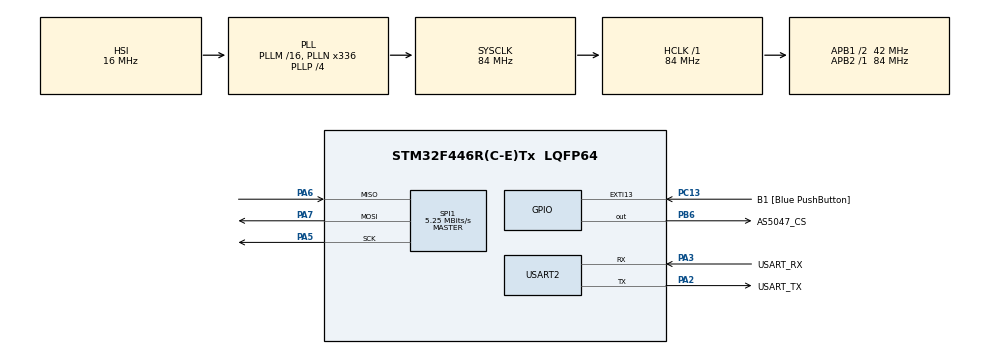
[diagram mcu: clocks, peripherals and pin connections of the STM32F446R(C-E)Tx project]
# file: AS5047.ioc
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Mcu.Family=STM32F4
PC15-OSC32_OUT.Mode=LSE-External-Oscillator
PA6.Mode=Full_Duplex_Master
PH0-OSC_IN.Signal=RCC_OSC_IN
RCC.CortexFreq_Value=84000000
PA7.Mode=Full_Duplex_Master
SPI1.VirtualType=VM_MASTER
PC13.Signal=GPXTI13
PA14.GPIO_Label=TCK
PB6.GPIO_Label=AS5047_CS
PC13.GPIO_Label=B1 [Blue PushButton]
RCC.APB1CLKDivider=RCC_HCLK_DIV2
PC14-OSC32_IN.Signal=RCC_OSC32_IN
RCC.SYSCLKSource=RCC_SYSCLKSOURCE_PLLCLK
ProjectManager.StackSize=0x400
PA13.Signal=SYS_JTMS-SWDIO
PA3.Mode=Asynchronous
ProjectManager.TargetToolchain=STM32CubeIDE
SPI1.Direction=SPI_DIRECTION_2LINES
RCC.HCLKFreq_Value=84000000
RCC.APB2TimFreq_Value=84000000
PB6.Signal=GPIO_Output
SPI1.CalculateBaudRate=5.25 MBits/s
RCC.USBFreq_Value=168000000
PC15-OSC32_OUT.Signal=RCC_OSC32_OUT
RCC.AHBFreq_Value=84000000
PH0-OSC_IN.Mode=HSE-External-Oscillator
PA5.Signal=SPI1_SCK
RCC.HSE_VALUE=8000000
board=NUCLEO-F446RE
RCC.VCOOutputFreq_Value=336000000
RCC.APB2Freq_Value=84000000
PC14-OSC32_IN.Mode=LSE-External-Oscillator
SPI1.Mode=SPI_MODE_MASTER
PA14.Mode=Serial_Wire
PH1-OSC_OUT.Signal=RCC_OSC_OUT
PA13.Mode=Serial_Wire
Mcu.Name=STM32F446R(C-E)Tx
PA2.Signal=USART2_TX
PA13.GPIO_Label=TMS
RCC.FLatency-AdvancedSettings=FLASH_LATENCY_2
PH1-OSC_OUT.Mode=HSE-External-Oscillator
RCC.48MHZClocksFreq_Value=84000000
PB3.Signal=SYS_JTDO-SWO
RCC.SYSCLKFreq_VALUE=84000000
Mcu.Package=LQFP64
PA6.Signal=SPI1_MISO
PC13.GPIO_ModeDefaultEXTI=GPIO_MODE_IT_FALLING
USART2.VirtualMode=VM_ASYNC
PA2.GPIO_Label=USART_TX
PA14.Signal=SYS_JTCK-SWCLK
ProjectManager.HeapSize=0x200
RCC.HSI_VALUE=16000000
RCC.PLLP=RCC_PLLP_DIV4
NVIC.PriorityGroup=NVIC_PRIORITYGROUP_0
RCC.PLLN=336
RCC.APB1TimFreq_Value=84000000
PA2.Mode=Asynchronous
RCC.APB1Freq_Value=42000000
SPI1.BaudRatePrescaler=SPI_BAUDRATEPRESCALER_16
PA3.GPIO_Label=USART_RX
PA3.Signal=USART2_RX
PA5.Mode=Full_Duplex_Master
PA7.Signal=SPI1_MOSI
PB3.GPIO_Label=SWO

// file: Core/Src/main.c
/* USER CODE BEGIN Header */
/**
  ******************************************************************************
  * @file           : main.c
  * @brief          : Main program body
  ******************************************************************************
  * @attention
  *
  * <h2><center>&copy; Copyright (c) 2021 STMicroelectronics.
  * All rights reserved.</center></h2>
  *
  * This software component is licensed by ST under BSD 3-Clause license,
  * the "License"; You may not use this file except in compliance with the
  * License. You may obtain a copy of the License at:
  *                        opensource.org/licenses/BSD-3-Clause
  *
  ******************************************************************************
  */
/* USER CODE END Header */
#include "main.h"

/* USER CODE BEGIN Includes */
#include "stdio.h"
/* USER CODE END Includes */

/* USER CODE BEGIN PD */
//The AS5047 requires at least 350ns between the LOW CS and the begin of the communication
#define AS5047_CS_LOW	{HAL_GPIO_WritePin(GPIOB, AS5047_CS_Pin, GPIO_PIN_RESET);  HAL_Delay(1);}
#define AS5047_CS_HIGH	HAL_GPIO_WritePin(GPIOB, AS5047_CS_Pin, GPIO_PIN_SET);

#define OP_READ   	      0x4000
#define PARITY_EVEN       0x0000
#define PARITY_ODD        0x8000
#define ADDR_NOP  	      0x0000
#define ADDR_ERRFL 	      0x0001
#define ADDR_ANGLECOM     0x3FFF

/* USER CODE END PD */

SPI_HandleTypeDef hspi1;

UART_HandleTypeDef huart2;

void SystemClock_Config(void);
static void MX_GPIO_Init(void);
static void MX_USART2_UART_Init(void);
static void MX_SPI1_Init(void);

int main(void)
{
  /* USER CODE BEGIN 1 */
  uint16_t spi_buf_send; 		//store the message the to be sent though SPI
  uint16_t spi_buf_receive;   //store the message the to be received though SPI
  char uart_buf[50];		//store the message the to be sent though UART
  uint16_t uart_buf_len;

  uint16_t CMD_R_ANGLECOM = (PARITY_ODD  | OP_READ | ADDR_ANGLECOM);
  uint16_t CMD_R_NOP      = (PARITY_ODD  | OP_READ | ADDR_NOP);
  uint16_t CMD_R_ERRFL    = (PARITY_EVEN | OP_READ | ADDR_ERRFL);

  HAL_StatusTypeDef status;

  float angle;

  /* USER CODE END 1 */

  /* MCU Configuration--------------------------------------------------------*/

  /* Reset of all peripherals, Initializes the Flash interface and the Systick. */
  HAL_Init();

  /* Configure the system clock */
  SystemClock_Config();

  /* Initialize all configured peripherals */
  MX_GPIO_Init();
  MX_USART2_UART_Init();
  MX_SPI1_Init();
  /* USER CODE BEGIN 2 */

  AS5047_CS_HIGH;

  //This section was translated from the original Arduino code. However, this section doesn't work because
  //0x0001 the the error register and it is only read

//  spi_buf_send = 0x0001; //writing command on the error register
//  AS5047_CS_LOW;
//  HAL_SPI_TransmitReceive(&hspi1, (uint8_t*)&spi_buf_send, (uint8_t*)&spi_buf_receive, 2, 100);
//  AS5047_CS_HIGH;
//  uart_buf_len = sprintf(uart_buf, "%d\r\n", spi_buf_receive); //print data
//  HAL_UART_Transmit(&huart2, (uint8_t*)uart_buf, uart_buf_len, 100);
//
//  spi_buf_send = 0x0007; //this is the value written on the error register
//  AS5047_CS_LOW;
//  HAL_SPI_TransmitReceive(&hspi1, (uint8_t*)&spi_buf_send, (uint8_t*)&spi_buf_receive, 2, 100);
//  AS5047_CS_HIGH;
//  uart_buf_len = sprintf(uart_buf, "%d\r\n", spi_buf_receive); //print data
//  HAL_UART_Transmit(&huart2, (uint8_t*)uart_buf, uart_buf_len, 100);

  spi_buf_send = CMD_R_ERRFL;
  spi_buf_receive=0;
  AS5047_CS_LOW;
  HAL_SPI_TransmitReceive(&hspi1, (uint8_t*)&spi_buf_send, (uint8_t*)&spi_buf_receive, 1, 100);
  AS5047_CS_HIGH;
  //The received message is trash
//  uart_buf_len = sprintf(uart_buf, "%d\r\n", spi_buf_receive); //print data
//  HAL_UART_Transmit(&huart2, (uint8_t*)uart_buf, uart_buf_len, 100);

  spi_buf_send = CMD_R_NOP;
  spi_buf_receive=0;
  AS5047_CS_LOW;
  HAL_SPI_TransmitReceive(&hspi1, (uint8_t*)&spi_buf_send, (uint8_t*)&spi_buf_receive, 1, 100);
  AS5047_CS_HIGH;
  uart_buf_len = sprintf(uart_buf, "%d\r\n", spi_buf_receive); //print data
  HAL_UART_Transmit(&huart2, (uint8_t*)uart_buf, uart_buf_len, 100);

  if(spi_buf_receive != 0){
	  uart_buf_len = sprintf(uart_buf, "Error %d Detected\r\n", spi_buf_receive); //print data
	  HAL_UART_Transmit(&huart2, (uint8_t*)uart_buf, uart_buf_len, 100);
  }

  /* USER CODE END 2 */

  /* Infinite loop */
  while (1)
  {

    /* USER CODE BEGIN 3 */

	  //send the address of the angle register
	  AS5047_CS_LOW;
	  HAL_SPI_Transmit(&hspi1, (uint8_t*)&CMD_R_ANGLECOM, 1, 100);
	  AS5047_CS_HIGH;

	  //send NOP and read the angle
	  AS5047_CS_LOW;
	  spi_buf_receive=0;
	  status = HAL_SPI_TransmitReceive(&hspi1, (uint8_t*)&CMD_R_NOP, (uint8_t*)&spi_buf_receive, 1, 100);
	  AS5047_CS_HIGH

	  if(((spi_buf_receive &0x4000)==0) && (status==HAL_OK)){
		  //removing the status bits
		  spi_buf_receive &= 0x3FFF;

		  uart_buf_len = sprintf(uart_buf, "Raw value = %d\r\n", spi_buf_receive); //print raw data
		  HAL_UART_Transmit(&huart2, (uint8_t*)uart_buf, uart_buf_len, 100);

		  angle = ((float)spi_buf_receive/16384.0 ) *360.0;
		  uart_buf_len = sprintf(uart_buf, "The angle is = %0.2f\r\n",angle); //print the angle
		  HAL_UART_Transmit(&huart2, (uint8_t*)uart_buf, uart_buf_len, 100);
		  }

	  HAL_Delay(100);

  }
  /* USER CODE END 3 */
}

void SystemClock_Config(void)
{
  RCC_OscInitTypeDef RCC_OscInitStruct = {0};
  RCC_ClkInitTypeDef RCC_ClkInitStruct = {0};

  /** Configure the main internal regulator output voltage
  */
  __HAL_RCC_PWR_CLK_ENABLE();
  __HAL_PWR_VOLTAGESCALING_CONFIG(PWR_REGULATOR_VOLTAGE_SCALE3);
  /** Initializes the RCC Oscillators according to the specified parameters
  * in the RCC_OscInitTypeDef structure.
  */
  RCC_OscInitStruct.OscillatorType = RCC_OSCILLATORTYPE_HSI;
  RCC_OscInitStruct.HSIState = RCC_HSI_ON;
  RCC_OscInitStruct.HSICalibrationValue = RCC_HSICALIBRATION_DEFAULT;
  RCC_OscInitStruct.PLL.PLLState = RCC_PLL_ON;
  RCC_OscInitStruct.PLL.PLLSource = RCC_PLLSOURCE_HSI;
  RCC_OscInitStruct.PLL.PLLM = 16;
  RCC_OscInitStruct.PLL.PLLN = 336;
  RCC_OscInitStruct.PLL.PLLP = RCC_PLLP_DIV4;
  RCC_OscInitStruct.PLL.PLLQ = 2;
  RCC_OscInitStruct.PLL.PLLR = 2;
  if (HAL_RCC_OscConfig(&RCC_OscInitStruct) != HAL_OK)
  {
    Error_Handler();
  }
  /** Initializes the CPU, AHB and APB buses clocks
  */
  RCC_ClkInitStruct.ClockType = RCC_CLOCKTYPE_HCLK|RCC_CLOCKTYPE_SYSCLK
                              |RCC_CLOCKTYPE_PCLK1|RCC_CLOCKTYPE_PCLK2;
  RCC_ClkInitStruct.SYSCLKSource = RCC_SYSCLKSOURCE_PLLCLK;
  RCC_ClkInitStruct.AHBCLKDivider = RCC_SYSCLK_DIV1;
  RCC_ClkInitStruct.APB1CLKDivider = RCC_HCLK_DIV2;
  RCC_ClkInitStruct.APB2CLKDivider = RCC_HCLK_DIV1;

  if (HAL_RCC_ClockConfig(&RCC_ClkInitStruct, FLASH_LATENCY_2) != HAL_OK)
  {
    Error_Handler();
  }
}

static void MX_SPI1_Init(void)
{

  /* SPI1 parameter configuration*/
  hspi1.Instance = SPI1;
  hspi1.Init.Mode = SPI_MODE_MASTER;
  hspi1.Init.Direction = SPI_DIRECTION_2LINES;
  hspi1.Init.DataSize = SPI_DATASIZE_16BIT;
  hspi1.Init.CLKPolarity = SPI_POLARITY_LOW;
  hspi1.Init.CLKPhase = SPI_PHASE_2EDGE;
  hspi1.Init.NSS = SPI_NSS_SOFT;
  hspi1.Init.BaudRatePrescaler = SPI_BAUDRATEPRESCALER_16;
  hspi1.Init.FirstBit = SPI_FIRSTBIT_MSB;
  hspi1.Init.TIMode = SPI_TIMODE_DISABLE;
  hspi1.Init.CRCCalculation = SPI_CRCCALCULATION_DISABLE;
  hspi1.Init.CRCPolynomial = 10;
  if (HAL_SPI_Init(&hspi1) != HAL_OK)
  {
    Error_Handler();
  }

}

static void MX_USART2_UART_Init(void)
{

  huart2.Instance = USART2;
  huart2.Init.BaudRate = 115200;
  huart2.Init.WordLength = UART_WORDLENGTH_8B;
  huart2.Init.StopBits = UART_STOPBITS_1;
  huart2.Init.Parity = UART_PARITY_NONE;
  huart2.Init.Mode = UART_MODE_TX_RX;
  huart2.Init.HwFlowCtl = UART_HWCONTROL_NONE;
  huart2.Init.OverSampling = UART_OVERSAMPLING_16;
  if (HAL_UART_Init(&huart2) != HAL_OK)
  {
    Error_Handler();
  }

}

static void MX_GPIO_Init(void)
{
  GPIO_InitTypeDef GPIO_InitStruct = {0};

  /* GPIO Ports Clock Enable */
  __HAL_RCC_GPIOC_CLK_ENABLE();
  __HAL_RCC_GPIOH_CLK_ENABLE();
  __HAL_RCC_GPIOA_CLK_ENABLE();
  __HAL_RCC_GPIOB_CLK_ENABLE();

  /*Configure GPIO pin Output Level */
  HAL_GPIO_WritePin(AS5047_CS_GPIO_Port, AS5047_CS_Pin, GPIO_PIN_RESET);

  /*Configure GPIO pin : B1_Pin */
  GPIO_InitStruct.Pin = B1_Pin;
  GPIO_InitStruct.Mode = GPIO_MODE_IT_FALLING;
  GPIO_InitStruct.Pull = GPIO_NOPULL;
  HAL_GPIO_Init(B1_GPIO_Port, &GPIO_InitStruct);

  /*Configure GPIO pin : AS5047_CS_Pin */
  GPIO_InitStruct.Pin = AS5047_CS_Pin;
  GPIO_InitStruct.Mode = GPIO_MODE_OUTPUT_PP;
  GPIO_InitStruct.Pull = GPIO_NOPULL;
  GPIO_InitStruct.Speed = GPIO_SPEED_FREQ_LOW;
  HAL_GPIO_Init(AS5047_CS_GPIO_Port, &GPIO_InitStruct);

}

void Error_Handler(void)
{
  __disable_irq();
  while (1)
  {
  }
}

/************************ (C) COPYRIGHT STMicroelectronics *****END OF FILE****/
